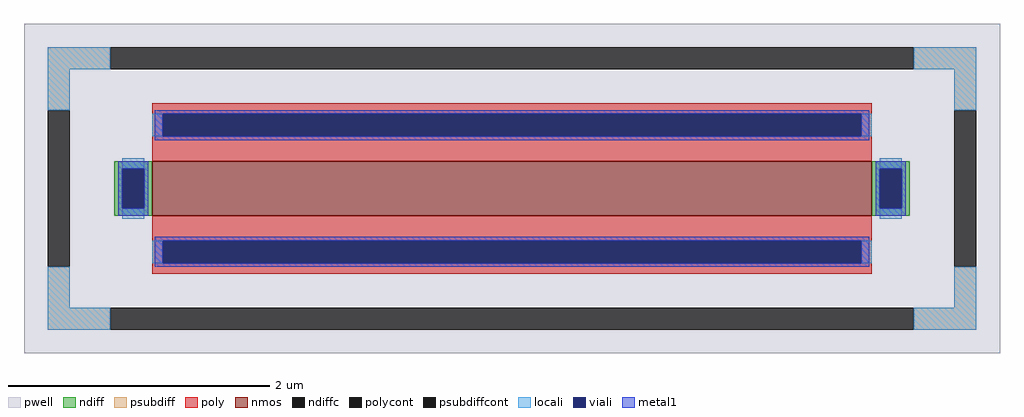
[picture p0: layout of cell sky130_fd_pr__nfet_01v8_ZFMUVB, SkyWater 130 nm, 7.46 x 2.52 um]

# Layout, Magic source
magic
tech sky130A
<< pwell >>
rect -373 -126 373 126
<< nmos >>
rect -275 -21 275 21
<< ndiff >>
rect -304 15 -275 21
rect -304 -15 -298 15
rect -281 -15 -275 15
rect -304 -21 -275 -15
rect 275 15 304 21
rect 275 -15 281 15
rect 298 -15 304 15
rect 275 -21 304 -15
<< ndiffc >>
rect -298 -15 -281 15
rect 281 -15 298 15
<< psubdiff >>
rect -355 91 -307 108
rect 307 91 355 108
rect -355 60 -338 91
rect 338 60 355 91
rect -355 -91 -338 -60
rect 338 -91 355 -60
rect -355 -108 -307 -91
rect 307 -108 355 -91
<< psubdiffcont >>
rect -307 91 307 108
rect -355 -60 -338 60
rect 338 -60 355 60
rect -307 -108 307 -91
<< poly >>
rect -275 57 275 65
rect -275 40 -267 57
rect 267 40 275 57
rect -275 21 275 40
rect -275 -40 275 -21
rect -275 -57 -267 -40
rect 267 -57 275 -40
rect -275 -65 275 -57
<< polycont >>
rect -267 40 267 57
rect -267 -57 267 -40
<< locali >>
rect -355 91 -307 108
rect 307 91 355 108
rect -355 60 -338 91
rect 338 60 355 91
rect -275 40 -267 57
rect 267 40 275 57
rect -298 15 -281 23
rect -298 -23 -281 -15
rect 281 15 298 23
rect 281 -23 298 -15
rect -275 -57 -267 -40
rect 267 -57 275 -40
rect -355 -91 -338 -60
rect 338 -91 355 -60
rect -355 -108 -307 -91
rect 307 -108 355 -91
<< viali >>
rect -267 40 267 57
rect -298 -15 -281 15
rect 281 -15 298 15
rect -267 -57 267 -40
<< metal1 >>
rect -273 57 273 60
rect -273 40 -267 57
rect 267 40 273 57
rect -273 37 273 40
rect -301 15 -278 21
rect -301 -15 -298 15
rect -281 -15 -278 15
rect -301 -21 -278 -15
rect 278 15 301 21
rect 278 -15 281 15
rect 298 -15 301 15
rect 278 -21 301 -15
rect -273 -40 273 -37
rect -273 -57 -267 -40
rect 267 -57 273 -40
rect -273 -60 273 -57
<< properties >>
string FIXED_BBOX -346 -99 346 99
string gencell sky130_fd_pr__nfet_01v8
string library sky130
string parameters w 0.42 l 5.5 m 1 nf 1 diffcov 100 polycov 100 guard 1 glc 1 grc 1 gtc 1 gbc 1 tbcov 100 rlcov 100 topc 1 botc 1 poverlap 0 doverlap 1 lmin 0.15 wmin 0.42 compatible {sky130_fd_pr__nfet_01v8 sky130_fd_pr__nfet_01v8_lvt  sky130_fd_bs_flash__special_sonosfet_star  sky130_fd_pr__nfet_g5v0d10v5 sky130_fd_pr__nfet_05v0_nvt  sky130_fd_pr__nfet_03v3_nvt} full_metal 1 viasrc 100 viadrn 100 viagate 100 viagb 0 viagr 0 viagl 0 viagt 0
<< end >>
